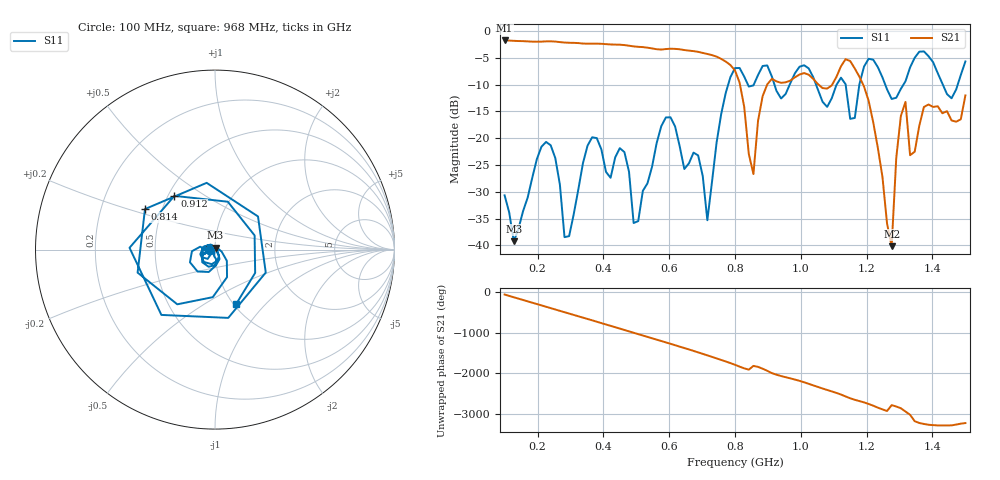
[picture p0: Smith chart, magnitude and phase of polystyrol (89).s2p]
! NanoVNA-App
! Date: 2025-09-26 09:42:34
! Start: 100MHz Stop: 1,5GHz Points: 101
! S-Parameter data: F S11 S21 S12 S22
# Hz S RI R 50
!  Frequency  S11_Real  S11_Imag  S21_Real  S21_Imag  S12_Real  S12_Imag  S22_Real  S22_Imag
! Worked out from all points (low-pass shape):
!   101 points, 100 MHz to 1.5 GHz, reference 50 ohm
!   highest |S21| = -1.79 dB at 100 MHz (marker M1); lowest = -40.1 dB at 1.276 GHz (marker M2)
!   |S21| within 3 dB of the highest: start of sweep to 743.4 MHz
!   lowest |S11| = -39.3 dB at 128 MHz (marker M3), VSWR 1.02, Z = 50.3 + j1.06 ohm
!   |S11| at or under -10 dB: start of sweep to 779.4 MHz; 1.046 GHz to 1.109 GHz (62.94 MHz wide, 5.84 % of centre); 1.256 GHz to 1.312 GHz (55.68 MHz wide, 4.34 % of centre) (the widest 3 of 7)
!   S12 and S22 are empty: the file has one direction only
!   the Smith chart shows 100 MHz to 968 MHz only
!   S11 on the Smith chart (normalised r, x): 100 MHz: 0.94, -0.01; 814 MHz: 0.40, +0.23; 912 MHz: 0.54, +0.38; 968 MHz: 1.03, -0.70
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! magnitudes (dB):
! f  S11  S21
! 100 MHz  -30.7  -1.8
! 128 MHz  -39.3  -1.9
! 212 MHz  -21.6  -2.0
! 282 MHz  -38.4  -2.2
! 338 MHz  -24.7  -2.4
! 464 MHz  -22.6  -2.7
! 506 MHz  -35.5  -3.0
! 576 MHz  -17.8  -3.5
! 688 MHz  -23.2  -3.9
! 716 MHz  -35.3  -4.3
! 800 MHz  -6.9  -7.4
! 814 MHz  -6.9  -9.6
! 856 MHz  -10.2  -26.7
! 912 MHz  -8.5  -8.9
! 968 MHz  -9.8  -9.3
! 1.038 GHz  -8.7  -9.0
! 1.164 GHz  -16.2  -7.0
! 1.192 GHz  -6.7  -10.4
! 1.276 GHz  -12.7  -40.1
! 1.318 GHz  -9.4  -13.2
! 1.332 GHz  -6.8  -23.2
! 1.5 GHz  -5.7  -12.0
